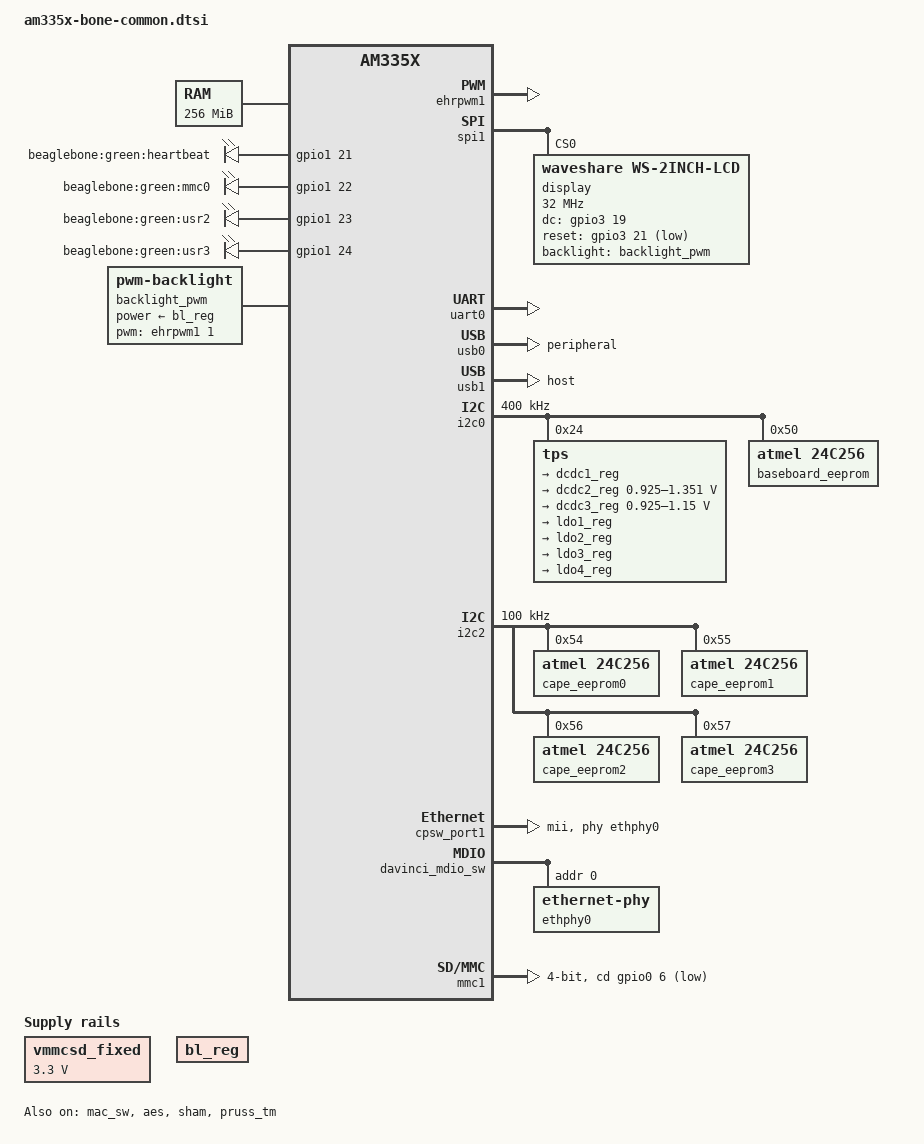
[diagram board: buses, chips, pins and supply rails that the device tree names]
// SPDX-License-Identifier: GPL-2.0-only
/*
 * Copyright (C) 2012 Texas Instruments Incorporated - https://www.ti.com/
 */

/ {
	cpus {
		cpu@0 {
			cpu0-supply = <&dcdc2_reg>;
		};
	};

	memory@80000000 {
		device_type = "memory";
		reg = <0x80000000 0x10000000>; /* 256 MB */
	};

	chosen {
		stdout-path = &uart0;
	};

	leds {
		pinctrl-names = "default";
		pinctrl-0 = <&user_leds_s0>;

		compatible = "gpio-leds";

		led2 {
			label = "beaglebone:green:heartbeat";
			gpios = <&gpio1 21 GPIO_ACTIVE_HIGH>;
			linux,default-trigger = "heartbeat";
			default-state = "off";
		};

		led3 {
			label = "beaglebone:green:mmc0";
			gpios = <&gpio1 22 GPIO_ACTIVE_HIGH>;
			linux,default-trigger = "mmc0";
			default-state = "off";
		};

		led4 {
			label = "beaglebone:green:usr2";
			gpios = <&gpio1 23 GPIO_ACTIVE_HIGH>;
			linux,default-trigger = "cpu0";
			default-state = "off";
		};

		led5 {
			label = "beaglebone:green:usr3";
			gpios = <&gpio1 24 GPIO_ACTIVE_HIGH>;
			linux,default-trigger = "mmc1";
			default-state = "off";
		};
	};

	vmmcsd_fixed: fixedregulator0 {
		compatible = "regulator-fixed";
		regulator-name = "vmmcsd_fixed";
		regulator-min-microvolt = <3300000>;
		regulator-max-microvolt = <3300000>;
	};
	bl_reg: backlight-regulator {
           compatible = "regulator-fixed";
           regulator-name = "backlight";
           regulator-always-on;
           regulator-boot-on;
           //regulator-min-microvolt = <1800000>;
	   //regulator-max-microvolt = <1800000>;
        };
        backlight_pwm: backlight_pwm {
           // P9.16 <--> lite (pwm-backlight EHRPWM1B)
           status = "okay";
           compatible = "pwm-backlight";
           pwms = <&ehrpwm1 1 500000 0>;    // First digit: 0 for A side of pwm, 1 for B side
                                            // 500000 is the PWM period in ns
           brightness-levels = <
                0  1  2  3  4  5  6  7  8  9
                10 11 12 13 14 15 16 17 18 19
                20 21 22 23 24 25 26 27 28 29
                30 31 32 33 34 35 36 37 38 39
                40 41 42 43 44 45 46 47 48 49
                50 51 52 53 54 55 56 57 58 59
                60 61 62 63 64 65 66 67 68 69
                70 71 72 73 74 75 76 77 78 79
                80 81 82 83 84 85 86 87 88 89
                90 91 92 93 94 95 96 97 98 99
                100
           >;
           default-brightness-level = <100>;
           power-supply = <&bl_reg>;
        };
};

&am33xx_pinmux {
	pinctrl-names = "default";
	pinctrl-0 = <&clkout2_pin>;

	user_leds_s0: user_leds_s0 {
		pinctrl-single,pins = <
			AM33XX_PADCONF(AM335X_PIN_GPMC_A5, PIN_OUTPUT_PULLDOWN, MUX_MODE7)	/* gpmc_a5.gpio1_21 */
			AM33XX_PADCONF(AM335X_PIN_GPMC_A6, PIN_OUTPUT_PULLUP, MUX_MODE7)	/* gpmc_a6.gpio1_22 */
			AM33XX_PADCONF(AM335X_PIN_GPMC_A7, PIN_OUTPUT_PULLDOWN, MUX_MODE7)	/* gpmc_a7.gpio1_23 */
			AM33XX_PADCONF(AM335X_PIN_GPMC_A8, PIN_OUTPUT_PULLUP, MUX_MODE7)	/* gpmc_a8.gpio1_24 */
		>;
	};

	i2c0_pins: pinmux_i2c0_pins {
		pinctrl-single,pins = <
			AM33XX_PADCONF(AM335X_PIN_I2C0_SDA, PIN_INPUT_PULLUP, MUX_MODE0)	/* i2c0_sda.i2c0_sda */
			AM33XX_PADCONF(AM335X_PIN_I2C0_SCL, PIN_INPUT_PULLUP, MUX_MODE0)	/* i2c0_scl.i2c0_scl */
		>;
	};

	i2c2_pins: pinmux_i2c2_pins {
		pinctrl-single,pins = <
			AM33XX_PADCONF(AM335X_PIN_UART1_CTSN, PIN_INPUT_PULLUP, MUX_MODE3)	/* uart1_ctsn.i2c2_sda */
			AM33XX_PADCONF(AM335X_PIN_UART1_RTSN, PIN_INPUT_PULLUP, MUX_MODE3)	/* uart1_rtsn.i2c2_scl */
		>;
	};

	uart0_pins: pinmux_uart0_pins {
		pinctrl-single,pins = <
			AM33XX_PADCONF(AM335X_PIN_UART0_RXD, PIN_INPUT_PULLUP, MUX_MODE0)
			AM33XX_PADCONF(AM335X_PIN_UART0_TXD, PIN_OUTPUT_PULLDOWN, MUX_MODE0)
		>;
	};

	clkout2_pin: pinmux_clkout2_pin {
		pinctrl-single,pins = <
			AM33XX_PADCONF(AM335X_PIN_XDMA_EVENT_INTR1, PIN_OUTPUT_PULLDOWN, MUX_MODE3)	/* xdma_event_intr1.clkout2 */
		>;
	};

	cpsw_default: cpsw_default {
		pinctrl-single,pins = <
			/* Slave 1 */
			AM33XX_PADCONF(AM335X_PIN_MII1_RX_ER, PIN_INPUT_PULLUP, MUX_MODE0)
			AM33XX_PADCONF(AM335X_PIN_MII1_TX_EN, PIN_OUTPUT_PULLDOWN, MUX_MODE0)
			AM33XX_PADCONF(AM335X_PIN_MII1_RX_DV, PIN_INPUT_PULLUP, MUX_MODE0)
			AM33XX_PADCONF(AM335X_PIN_MII1_TXD3, PIN_OUTPUT_PULLDOWN, MUX_MODE0)
			AM33XX_PADCONF(AM335X_PIN_MII1_TXD2, PIN_OUTPUT_PULLDOWN, MUX_MODE0)
			AM33XX_PADCONF(AM335X_PIN_MII1_TXD1, PIN_OUTPUT_PULLDOWN, MUX_MODE0)
			AM33XX_PADCONF(AM335X_PIN_MII1_TXD0, PIN_OUTPUT_PULLDOWN, MUX_MODE0)
			AM33XX_PADCONF(AM335X_PIN_MII1_TX_CLK, PIN_INPUT_PULLUP, MUX_MODE0)
			AM33XX_PADCONF(AM335X_PIN_MII1_RX_CLK, PIN_INPUT_PULLUP, MUX_MODE0)
			AM33XX_PADCONF(AM335X_PIN_MII1_RXD3, PIN_INPUT_PULLUP, MUX_MODE0)
			AM33XX_PADCONF(AM335X_PIN_MII1_RXD2, PIN_INPUT_PULLUP, MUX_MODE0)
			AM33XX_PADCONF(AM335X_PIN_MII1_RXD1, PIN_INPUT_PULLUP, MUX_MODE0)
			AM33XX_PADCONF(AM335X_PIN_MII1_RXD0, PIN_INPUT_PULLUP, MUX_MODE0)
		>;
	};

	cpsw_sleep: cpsw_sleep {
		pinctrl-single,pins = <
			/* Slave 1 reset value */
			AM33XX_PADCONF(AM335X_PIN_MII1_RX_ER, PIN_INPUT_PULLDOWN, MUX_MODE7)
			AM33XX_PADCONF(AM335X_PIN_MII1_TX_EN, PIN_INPUT_PULLDOWN, MUX_MODE7)
			AM33XX_PADCONF(AM335X_PIN_MII1_RX_DV, PIN_INPUT_PULLDOWN, MUX_MODE7)
			AM33XX_PADCONF(AM335X_PIN_MII1_TXD3, PIN_INPUT_PULLDOWN, MUX_MODE7)
			AM33XX_PADCONF(AM335X_PIN_MII1_TXD2, PIN_INPUT_PULLDOWN, MUX_MODE7)
			AM33XX_PADCONF(AM335X_PIN_MII1_TXD1, PIN_INPUT_PULLDOWN, MUX_MODE7)
			AM33XX_PADCONF(AM335X_PIN_MII1_TXD0, PIN_INPUT_PULLDOWN, MUX_MODE7)
			AM33XX_PADCONF(AM335X_PIN_MII1_TX_CLK, PIN_INPUT_PULLDOWN, MUX_MODE7)
			AM33XX_PADCONF(AM335X_PIN_MII1_RX_CLK, PIN_INPUT_PULLDOWN, MUX_MODE7)
			AM33XX_PADCONF(AM335X_PIN_MII1_RXD3, PIN_INPUT_PULLDOWN, MUX_MODE7)
			AM33XX_PADCONF(AM335X_PIN_MII1_RXD2, PIN_INPUT_PULLDOWN, MUX_MODE7)
			AM33XX_PADCONF(AM335X_PIN_MII1_RXD1, PIN_INPUT_PULLDOWN, MUX_MODE7)
			AM33XX_PADCONF(AM335X_PIN_MII1_RXD0, PIN_INPUT_PULLDOWN, MUX_MODE7)
		>;
	};

	davinci_mdio_default: davinci_mdio_default {
		pinctrl-single,pins = <
			/* MDIO */
			AM33XX_PADCONF(AM335X_PIN_MDIO, PIN_INPUT_PULLUP | SLEWCTRL_FAST, MUX_MODE0)
			AM33XX_PADCONF(AM335X_PIN_MDC, PIN_OUTPUT_PULLUP, MUX_MODE0)
		>;
	};

	davinci_mdio_sleep: davinci_mdio_sleep {
		pinctrl-single,pins = <
			/* MDIO reset value */
			AM33XX_PADCONF(AM335X_PIN_MDIO, PIN_INPUT_PULLDOWN, MUX_MODE7)
			AM33XX_PADCONF(AM335X_PIN_MDC, PIN_INPUT_PULLDOWN, MUX_MODE7)
		>;
	};

	mmc1_pins: pinmux_mmc1_pins {
		pinctrl-single,pins = <
			AM33XX_PADCONF(AM335X_PIN_SPI0_CS1, PIN_INPUT, MUX_MODE7)		/* spio0_cs1.gpio0_6 */
			AM33XX_PADCONF(AM335X_PIN_MMC0_DAT0, PIN_INPUT_PULLUP, MUX_MODE0)
			AM33XX_PADCONF(AM335X_PIN_MMC0_DAT1, PIN_INPUT_PULLUP, MUX_MODE0)
			AM33XX_PADCONF(AM335X_PIN_MMC0_DAT2, PIN_INPUT_PULLUP, MUX_MODE0)
			AM33XX_PADCONF(AM335X_PIN_MMC0_DAT3, PIN_INPUT_PULLUP, MUX_MODE0)
			AM33XX_PADCONF(AM335X_PIN_MMC0_CMD, PIN_INPUT_PULLUP, MUX_MODE0)
			AM33XX_PADCONF(AM335X_PIN_MMC0_CLK, PIN_INPUT_PULLUP, MUX_MODE0)
		>;
	};

	emmc_pins: pinmux_emmc_pins {
		pinctrl-single,pins = <
			AM33XX_PADCONF(AM335X_PIN_GPMC_CSN1, PIN_INPUT_PULLUP, MUX_MODE2) /* gpmc_csn1.mmc1_clk */
			AM33XX_PADCONF(AM335X_PIN_GPMC_CSN2, PIN_INPUT_PULLUP, MUX_MODE2) /* gpmc_csn2.mmc1_cmd */
			AM33XX_PADCONF(AM335X_PIN_GPMC_AD0, PIN_INPUT_PULLUP, MUX_MODE1) /* gpmc_ad0.mmc1_dat0 */
			AM33XX_PADCONF(AM335X_PIN_GPMC_AD1, PIN_INPUT_PULLUP, MUX_MODE1) /* gpmc_ad1.mmc1_dat1 */
			AM33XX_PADCONF(AM335X_PIN_GPMC_AD2, PIN_INPUT_PULLUP, MUX_MODE1) /* gpmc_ad2.mmc1_dat2 */
			AM33XX_PADCONF(AM335X_PIN_GPMC_AD3, PIN_INPUT_PULLUP, MUX_MODE1) /* gpmc_ad3.mmc1_dat3 */
			AM33XX_PADCONF(AM335X_PIN_GPMC_AD4, PIN_INPUT_PULLUP, MUX_MODE1) /* gpmc_ad4.mmc1_dat4 */
			AM33XX_PADCONF(AM335X_PIN_GPMC_AD5, PIN_INPUT_PULLUP, MUX_MODE1) /* gpmc_ad5.mmc1_dat5 */
			AM33XX_PADCONF(AM335X_PIN_GPMC_AD6, PIN_INPUT_PULLUP, MUX_MODE1) /* gpmc_ad6.mmc1_dat6 */
			AM33XX_PADCONF(AM335X_PIN_GPMC_AD7, PIN_INPUT_PULLUP, MUX_MODE1) /* gpmc_ad7.mmc1_dat7 */
		>;
	};
	spi1_pins: spi1_pins {
           pinctrl-single,pins = <
                AM33XX_PADCONF(AM335X_PIN_MCASP0_ACLKX, PIN_INPUT, MUX_MODE3)   /*SPI1_SCLK*/
                AM33XX_PADCONF(AM335X_PIN_MCASP0_FSX, PIN_INPUT, MUX_MODE3)     /*SPI1_D0  */                
                AM33XX_PADCONF(AM335X_PIN_MCASP0_AXR0, PIN_INPUT, MUX_MODE3)   /*SPI1_D1  */
                AM33XX_PADCONF(AM335X_PIN_MCASP0_AHCLKR, PIN_INPUT, MUX_MODE3) /*SPI1_CS0 */
                AM33XX_PADCONF(AM335X_PIN_MCASP0_FSR, PIN_OUTPUT_PULLUP, MUX_MODE7)    /*GPIO3_19 */
                AM33XX_PADCONF(AM335X_PIN_MCASP0_AHCLKX, PIN_OUTPUT_PULLUP, MUX_MODE7) /*GPIO3_21 */
           >;
       };
       backlight_pwm_pins: pinmux_backlight_pwm_pins {
           pinctrl-single,pins = <
                AM33XX_PADCONF(AM335X_PIN_GPMC_A3, PIN_OUTPUT, MUX_MODE6)              /*GPMC_A3->EHRPWM1B */
           >;
       };  /* gpmc_a2.ehrpwm1b */  	
};

/*<mGaik>*/
&ehrpwm1 {
     pinctrl-names = "default";
     pinctrl-0 = <&backlight_pwm_pins>;
     status = "okay";
};

&spi1 {
        #address-cells = <1>;
     	#size-cells = <0>;

    	status = "okay";
        pinctrl-names = "default";
        pinctrl-0 = <&spi1_pins>;
    	channel@0{
	   	     status = "disabled";
		     reg = <0>;
	};
    	display@0{
            status = "okay";
	    //compatible = "adafruit,yx240qv29", "ilitek,ili9341"; //this makes ili9341 visible once we do lsmod
            //compatible = "jianda,jd-t18003-t01", "sitronix,st7735r";
	    compatible = "waveshare,ws-2inch-lcd", "sitronix,st7789v";
	    //compatible = "sitronix,st7789v";
	    reg = <0>;
	    //spi-max-frequency = <100000>;
	    spi-max-frequency = <32000000>;
	    spi-cpol;
	    spi-cpha;
	    dc-gpios    = <&gpio3 19 0>;   // lcd dc    P9.27 gpio3[19]
	    //reset-gpios = <&gpio3 21 0>;   // lcd reset P9.25 gpio3[21]
	    reset-gpios = <&gpio3 21 1>;   // lcd reset P9.25 gpio3[21]
	    // backlight is optional
	    // choose either pwm or gpio control
	    backlight = <&backlight_pwm>;    // lcd lite  P9.16 gpmc_a2.ehrpwm1b
	    // refer to https://elinux.org/Beagleboard:Cape_Expansion_Headers
	    // rotation is optional
	    rotation = <180>;
	    buswidth = <8>;
	    //debug = <7>;
       };
};

&uart0 {
	pinctrl-names = "default";
	pinctrl-0 = <&uart0_pins>;

	status = "okay";
};

&usb0 {
	dr_mode = "peripheral";
	interrupts-extended = <&intc 18 &tps 0>;
	interrupt-names = "mc", "vbus";
};

&usb1 {
	dr_mode = "host";
};

&i2c0 {
	pinctrl-names = "default";
	pinctrl-0 = <&i2c0_pins>;

	status = "okay";
	clock-frequency = <400000>;

	tps: tps@24 {
		reg = <0x24>;
	};

	baseboard_eeprom: baseboard_eeprom@50 {
		compatible = "atmel,24c256";
		reg = <0x50>;

		#address-cells = <1>;
		#size-cells = <1>;
		baseboard_data: baseboard_data@0 {
			reg = <0 0x100>;
		};
	};
};

&i2c2 {
	pinctrl-names = "default";
	pinctrl-0 = <&i2c2_pins>;

	status = "okay";
	clock-frequency = <100000>;

	cape_eeprom0: cape_eeprom0@54 {
		compatible = "atmel,24c256";
		reg = <0x54>;
		#address-cells = <1>;
		#size-cells = <1>;
		cape0_data: cape_data@0 {
			reg = <0 0x100>;
		};
	};

	cape_eeprom1: cape_eeprom1@55 {
		compatible = "atmel,24c256";
		reg = <0x55>;
		#address-cells = <1>;
		#size-cells = <1>;
		cape1_data: cape_data@0 {
			reg = <0 0x100>;
		};
	};

	cape_eeprom2: cape_eeprom2@56 {
		compatible = "atmel,24c256";
		reg = <0x56>;
		#address-cells = <1>;
		#size-cells = <1>;
		cape2_data: cape_data@0 {
			reg = <0 0x100>;
		};
	};

	cape_eeprom3: cape_eeprom3@57 {
		compatible = "atmel,24c256";
		reg = <0x57>;
		#address-cells = <1>;
		#size-cells = <1>;
		cape3_data: cape_data@0 {
			reg = <0 0x100>;
		};
	};
};


/include/ "tps65217.dtsi"

&tps {
	/*
	 * Configure pmic to enter OFF-state instead of SLEEP-state ("RTC-only
	 * mode") at poweroff.  Most BeagleBone versions do not support RTC-only
	 * mode and risk hardware damage if this mode is entered.
	 *
	 * For details, see linux-omap mailing list May 2015 thread
	 *	[PATCH] ARM: dts: am335x-bone* enable pmic-shutdown-controller
	 * In particular, messages:
	 *	http://www.spinics.net/lists/linux-omap/msg118585.html
	 *	http://www.spinics.net/lists/linux-omap/msg118615.html
	 *
	 * You can override this later with
	 *	&tps {  /delete-property/ ti,pmic-shutdown-controller;  }
	 * if you want to use RTC-only mode and made sure you are not affected
	 * by the hardware problems. (Tip: double-check by performing a current
	 * measurement after shutdown: it should be less than 1 mA.)
	 */

	interrupts = <7>; /* NMI */
	interrupt-parent = <&intc>;

	ti,pmic-shutdown-controller;

	charger {
		status = "okay";
	};

	pwrbutton {
		status = "okay";
	};

	regulators {
		dcdc1_reg: regulator@0 {
			regulator-name = "vdds_dpr";
			regulator-always-on;
		};

		dcdc2_reg: regulator@1 {
			/* VDD_MPU voltage limits 0.95V - 1.26V with +/-4% tolerance */
			regulator-name = "vdd_mpu";
			regulator-min-microvolt = <925000>;
			regulator-max-microvolt = <1351500>;
			regulator-boot-on;
			regulator-always-on;
		};

		dcdc3_reg: regulator@2 {
			/* VDD_CORE voltage limits 0.95V - 1.1V with +/-4% tolerance */
			regulator-name = "vdd_core";
			regulator-min-microvolt = <925000>;
			regulator-max-microvolt = <1150000>;
			regulator-boot-on;
			regulator-always-on;
		};

		ldo1_reg: regulator@3 {
			regulator-name = "vio,vrtc,vdds";
			regulator-always-on;
		};

		ldo2_reg: regulator@4 {
			regulator-name = "vdd_3v3aux";
			regulator-always-on;
		};

		ldo3_reg: regulator@5 {
			regulator-name = "vdd_1v8";
			regulator-always-on;
		};

		ldo4_reg: regulator@6 {
			regulator-name = "vdd_3v3a";
			regulator-always-on;
		};
	};
};

&cpsw_port1 {
	phy-handle = <&ethphy0>;
	phy-mode = "mii";
	ti,dual-emac-pvid = <1>;
};

&cpsw_port2 {
	status = "disabled";
};

&mac_sw {
	pinctrl-names = "default", "sleep";
	pinctrl-0 = <&cpsw_default>;
	pinctrl-1 = <&cpsw_sleep>;
	status = "okay";
};

&davinci_mdio_sw {
	pinctrl-names = "default", "sleep";
	pinctrl-0 = <&davinci_mdio_default>;
	pinctrl-1 = <&davinci_mdio_sleep>;

	ethphy0: ethernet-phy@0 {
		reg = <0>;
	};
};

&mmc1 {
	status = "okay";
	bus-width = <0x4>;
	pinctrl-names = "default";
	pinctrl-0 = <&mmc1_pins>;
	cd-gpios = <&gpio0 6 GPIO_ACTIVE_LOW>;
};

&aes {
	status = "okay";
};

&sham {
	status = "okay";
};

&rtc {
	clocks = <&clk_32768_ck>, <&clk_24mhz_clkctrl AM3_CLK_24MHZ_CLKDIV32K_CLKCTRL 0>;
	clock-names = "ext-clk", "int-clk";
};

&pruss_tm {
	status = "okay";
};
